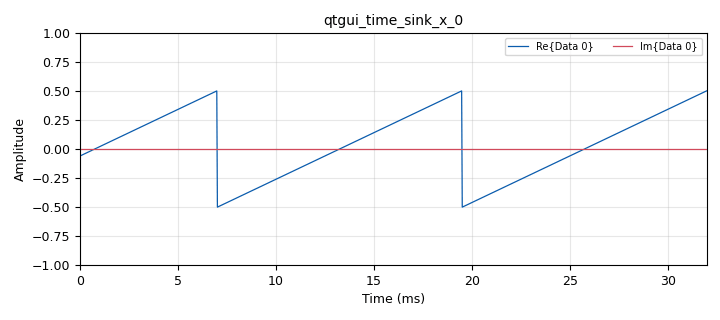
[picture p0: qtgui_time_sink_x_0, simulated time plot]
<?xml version='1.0' encoding='utf-8'?>
<?grc format='1' created='3.7.10'?>
<flow_graph>
<block>
<key>options</key>
<param><key>id</key><value>tags_lab1</value></param>
<param><key>category</key><value>Custom</value></param>
<param><key>generate_options</key><value>qt_gui</value></param>
</block>
<block>
<key>variable</key>
<param><key>id</key><value>samp_rate</value></param>
<param><key>value</key><value>32000</value></param>
</block>
<block>
<key>variable_tag_object</key>
<param><key>id</key><value>tag0</value></param>
<param><key>key</key><value>pmt.intern("hello")</value></param>
<param><key>offset</key><value>0</value></param>
<param><key>src</key><value>pmt.intern("src")</value></param>
<param><key>value</key><value>pmt.to_pmt(3)</value></param>
</block>
<block>
<key>variable_tag_object</key>
<param><key>id</key><value>tag1</value></param>
<param><key>key</key><value>pmt.intern("goodbye")</value></param>
<param><key>offset</key><value>155</value></param>
<param><key>src</key><value>pmt.intern("src")</value></param>
<param><key>value</key><value>pmt.to_pmt("ok")</value></param>
</block>
<block>
<key>blocks_throttle</key>
<param><key>id</key><value>blocks_throttle_0</value></param>
<param><key>samples_per_second</key><value>samp_rate</value></param>
<param><key>type</key><value>complex</value></param>
</block>
<block>
<key>blocks_vector_source_x</key>
<param><key>id</key><value>blocks_vector_source_x_0</value></param>
<param><key>type</key><value>complex</value></param>
<param><key>repeat</key><value>True</value></param>
<param><key>tags</key><value>[tag0, tag1]</value></param>
<param><key>vector</key><value>np.linspace(-.5,.5,400)</value></param>
</block>
<block>
<key>import</key>
<param><key>id</key><value>import_0</value></param>
<param><key>import</key><value>import pmt</value></param>
</block>
<block>
<key>import</key>
<param><key>id</key><value>import_1</value></param>
<param><key>import</key><value>import numpy as np</value></param>
</block>
<block>
<key>qtgui_time_sink_x</key>
<param><key>id</key><value>qtgui_time_sink_x_0</value></param>
<param><key>color1</key><value>"blue"</value></param>
<param><key>label1</key><value></value></param>
<param><key>color2</key><value>"red"</value></param>
<param><key>label2</key><value></value></param>
<param><key>size</key><value>1024</value></param>
<param><key>srate</key><value>samp_rate</value></param>
<param><key>type</key><value>complex</value></param>
</block>
<connection><source_block_id>blocks_throttle_0</source_block_id><sink_block_id>qtgui_time_sink_x_0</sink_block_id><source_key>0</source_key><sink_key>0</sink_key></connection>
<connection><source_block_id>blocks_vector_source_x_0</source_block_id><sink_block_id>blocks_throttle_0</sink_block_id><source_key>0</source_key><sink_key>0</sink_key></connection>
</flow_graph>
